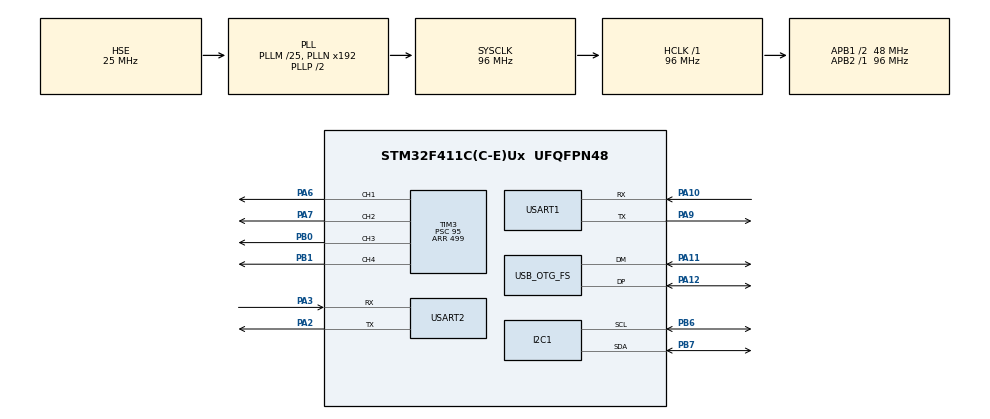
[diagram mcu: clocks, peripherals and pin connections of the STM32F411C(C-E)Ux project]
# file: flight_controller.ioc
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Dma.I2C1_RX.0.Direction=DMA_PERIPH_TO_MEMORY
Dma.I2C1_RX.0.FIFOMode=DMA_FIFOMODE_DISABLE
Dma.I2C1_RX.0.Instance=DMA1_Stream0
Dma.I2C1_RX.0.MemDataAlignment=DMA_MDATAALIGN_BYTE
Dma.I2C1_RX.0.MemInc=DMA_MINC_ENABLE
Dma.I2C1_RX.0.Mode=DMA_NORMAL
Dma.I2C1_RX.0.PeriphDataAlignment=DMA_PDATAALIGN_BYTE
Dma.I2C1_RX.0.PeriphInc=DMA_PINC_DISABLE
Dma.I2C1_RX.0.Priority=DMA_PRIORITY_HIGH
Dma.Request0=I2C1_RX
Dma.Request1=USART2_RX
Dma.Request2=USART1_RX
Dma.USART1_RX.2.Direction=DMA_PERIPH_TO_MEMORY
Dma.USART1_RX.2.FIFOMode=DMA_FIFOMODE_DISABLE
Dma.USART1_RX.2.Instance=DMA2_Stream2
Dma.USART1_RX.2.MemDataAlignment=DMA_MDATAALIGN_BYTE
Dma.USART1_RX.2.MemInc=DMA_MINC_ENABLE
Dma.USART1_RX.2.Mode=DMA_CIRCULAR
Dma.USART1_RX.2.PeriphDataAlignment=DMA_PDATAALIGN_BYTE
Dma.USART1_RX.2.PeriphInc=DMA_PINC_DISABLE
Dma.USART1_RX.2.Priority=DMA_PRIORITY_LOW
Dma.USART2_RX.1.Direction=DMA_PERIPH_TO_MEMORY
Dma.USART2_RX.1.FIFOMode=DMA_FIFOMODE_DISABLE
Dma.USART2_RX.1.Instance=DMA1_Stream5
Dma.USART2_RX.1.MemDataAlignment=DMA_MDATAALIGN_BYTE
Dma.USART2_RX.1.MemInc=DMA_MINC_ENABLE
Dma.USART2_RX.1.Mode=DMA_CIRCULAR
Dma.USART2_RX.1.PeriphDataAlignment=DMA_PDATAALIGN_BYTE
Dma.USART2_RX.1.PeriphInc=DMA_PINC_DISABLE
Dma.USART2_RX.1.Priority=DMA_PRIORITY_MEDIUM
Mcu.Family=STM32F4
Mcu.Name=STM32F411C(C-E)Ux
Mcu.Package=UFQFPN48
NVIC.DMA1_Stream0_IRQn=true\:6\:0\:true\:false\:true\:false\:true\:true
NVIC.DMA1_Stream5_IRQn=true\:0\:0\:false\:false\:true\:false\:true\:true
NVIC.DMA2_Stream2_IRQn=true\:0\:0\:false\:false\:true\:false\:true\:true
NVIC.I2C1_ER_IRQn=true\:6\:0\:true\:false\:true\:true\:true\:true
NVIC.I2C1_EV_IRQn=true\:6\:0\:true\:false\:true\:true\:true\:true
NVIC.OTG_FS_IRQn=true\:4\:0\:true\:false\:true\:false\:true\:true
NVIC.PriorityGroup=NVIC_PRIORITYGROUP_4
NVIC.TIM2_IRQn=true\:2\:0\:true\:false\:true\:true\:true\:true
NVIC.TIM4_IRQn=true\:0\:0\:false\:false\:true\:true\:true\:true
PA10.Mode=Asynchronous
PA10.Signal=USART1_RX
PA11.Mode=Device_Only
PA11.Signal=USB_OTG_FS_DM
PA12.Mode=Device_Only
PA12.Signal=USB_OTG_FS_DP
PA2.Mode=Asynchronous
PA2.Signal=USART2_TX
PA3.Mode=Asynchronous
PA3.Signal=USART2_RX
PA6.Signal=S_TIM3_CH1
PA7.Signal=S_TIM3_CH2
PA9.Mode=Asynchronous
PA9.Signal=USART1_TX
PB0.Signal=S_TIM3_CH3
PB1.Signal=S_TIM3_CH4
PB6.GPIO_Pu=GPIO_PULLUP
PB6.Mode=I2C
PB6.Signal=I2C1_SCL
PB7.GPIO_Pu=GPIO_PULLUP
PB7.Mode=I2C
PB7.Signal=I2C1_SDA
PC14-OSC32_IN.Mode=LSE-External-Oscillator
PC14-OSC32_IN.Signal=RCC_OSC32_IN
PC15-OSC32_OUT.Mode=LSE-External-Oscillator
PC15-OSC32_OUT.Signal=RCC_OSC32_OUT
PH0\ -\ OSC_IN.Mode=HSE-External-Oscillator
PH0\ -\ OSC_IN.Signal=RCC_OSC_IN
PH1\ -\ OSC_OUT.Mode=HSE-External-Oscillator
PH1\ -\ OSC_OUT.Signal=RCC_OSC_OUT
ProjectManager.HeapSize=0x200
ProjectManager.StackSize=0x400
ProjectManager.TargetToolchain=CMake
RCC.48MHZClocksFreq_Value=48000000
RCC.AHBFreq_Value=96000000
RCC.APB1CLKDivider=RCC_HCLK_DIV2
RCC.APB1Freq_Value=48000000
RCC.APB1TimFreq_Value=96000000
RCC.APB2Freq_Value=96000000
RCC.APB2TimFreq_Value=96000000
RCC.CortexFreq_Value=96000000
RCC.HCLKFreq_Value=96000000
RCC.HSE_VALUE=25000000
RCC.HSI_VALUE=16000000
RCC.PLLM=25
RCC.SYSCLKFreq_VALUE=96000000
RCC.SYSCLKSource=RCC_SYSCLKSOURCE_PLLCLK
RCC.VCOOutputFreq_Value=192000000
SH.S_TIM3_CH1.0=TIM3_CH1,PWM Generation1 CH1
SH.S_TIM3_CH2.0=TIM3_CH2,PWM Generation2 CH2
SH.S_TIM3_CH3.0=TIM3_CH3,PWM Generation3 CH3
SH.S_TIM3_CH4.0=TIM3_CH4,PWM Generation4 CH4
TIM2.Period=19
TIM2.Prescaler=9599
TIM2.TIM_MasterOutputTrigger=TIM_TRGO_RESET
TIM3.AutoReloadPreload=TIM_AUTORELOAD_PRELOAD_DISABLE
TIM3.Channel-PWM\ Generation1\ CH1=TIM_CHANNEL_1
TIM3.Channel-PWM\ Generation2\ CH2=TIM_CHANNEL_2
TIM3.Channel-PWM\ Generation3\ CH3=TIM_CHANNEL_3
TIM3.Channel-PWM\ Generation4\ CH4=TIM_CHANNEL_4
TIM3.Period=499
TIM3.Prescaler=95
TIM3.Pulse-PWM\ Generation1\ CH1=125
TIM3.Pulse-PWM\ Generation2\ CH2=125
TIM3.Pulse-PWM\ Generation3\ CH3=125
TIM3.Pulse-PWM\ Generation4\ CH4=125
TIM4.Period=499
TIM4.Prescaler=9599
USART1.VirtualMode=VM_ASYNC
USART2.VirtualMode=VM_ASYNC
USB_DEVICE.CLASS_NAME_FS=CDC
USB_DEVICE.VirtualMode=Cdc
USB_DEVICE.VirtualModeFS=Cdc_FS
USB_OTG_FS.VirtualMode=Device_Only
VP_TIM2_VS_ClockSourceINT.Mode=Internal
VP_TIM4_VS_ClockSourceINT.Mode=Internal
VP_USB_DEVICE_VS_USB_DEVICE_CDC_FS.Mode=CDC_FS
board=custom

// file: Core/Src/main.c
/* USER CODE BEGIN Header */
/**
  ******************************************************************************
  * @file           : main.c
  * @brief          : Main program body
  ******************************************************************************
  * @attention
  *
  * Copyright (c) 2025 STMicroelectronics.
  * All rights reserved.
  *
  * This software is licensed under terms that can be found in the LICENSE file
  * in the root directory of this software component.
  * If no LICENSE file comes with this software, it is provided AS-IS.
  *
  ******************************************************************************
  */
/* USER CODE END Header */
#include "main.h"
#include "usb_device.h"

/* USER CODE BEGIN Includes */
#include "stm32f4xx_hal_def.h"
#include "usbd_cdc_if.h"
#include "mpu6050.h"
//#include <cstddef>
#include <stdbool.h>
#include <stdint.h>
#include <stdio.h>
#include "rc_recv.h"
#include "motor_control.h"
#include <math.h>
#include "control.h"
#include "bmp280.h"
#include "qmc5883.h"
#include "gps.h"
/* USER CODE END Includes */

I2C_HandleTypeDef hi2c1;
DMA_HandleTypeDef hdma_i2c1_rx;

TIM_HandleTypeDef htim2;
TIM_HandleTypeDef htim3;
TIM_HandleTypeDef htim4;

UART_HandleTypeDef huart1;
UART_HandleTypeDef huart2;
DMA_HandleTypeDef hdma_usart1_rx;
DMA_HandleTypeDef hdma_usart2_rx;

/* USER CODE BEGIN PV */
volatile uint8_t pid_timer_flag = 0;
volatile uint8_t periph_poll_flag = 0;
/* USER CODE END PV */

void SystemClock_Config(void);
static void MX_GPIO_Init(void);
static void MX_DMA_Init(void);
static void MX_I2C1_Init(void);
static void MX_USART2_UART_Init(void);
static void MX_TIM3_Init(void);
static void MX_TIM2_Init(void);
static void MX_USART1_UART_Init(void);
static void MX_TIM4_Init(void);

int main(void)
{

  /* USER CODE BEGIN 1 */
  HAL_StatusTypeDef status = HAL_OK;
  /* USER CODE END 1 */

  /* MCU Configuration--------------------------------------------------------*/

  /* Reset of all peripherals, Initializes the Flash interface and the Systick. */
  HAL_Init();

  /* Configure the system clock */
  SystemClock_Config();

  /* Initialize all configured peripherals */
  MX_GPIO_Init();
  MX_DMA_Init();
  MX_USB_DEVICE_Init();
  MX_I2C1_Init();
  MX_USART2_UART_Init();
  MX_TIM3_Init();
  MX_TIM2_Init();
  MX_USART1_UART_Init();
  MX_TIM4_Init();
  /* USER CODE BEGIN 2 */
  HAL_Delay(2000);

  mpu6050_init(&status);
  bmp_init(&status);
  motor_control_init();
  ibus_init();
  // qmc_init(&status);
  // gps_init();

  // qmc_calibrate(&status, 200);  //calibrate for 10 seconds, make sure to rotate the drone in all orientations during this time
  // esc_calibrate();  // MAX speed for 8 seconds, then 3 seconds lowest speed

  HAL_TIM_Base_Start_IT(&htim2); //the PID loop timer on 500Hz refresh rate
  HAL_TIM_Base_Start_IT(&htim4); //slow loop for GPS, qmc5883 and bmp280

  /* USER CODE END 2 */

  /* Infinite loop */
  while (1)
  {

    /* USER CODE BEGIN 3 */

    // gps_test();
    // HAL_Delay(100);
    // qmc_test();
    // HAL_Delay(100);
    // mpu6050_test(&status);
    // HAL_Delay(300);
    // bmp_test(&status);
    // HAL_Delay(300);

    // uint8_t msg[8] = "HELLO\r\n";
    // CDC_Transmit_FS(msg, 8);
    // test_motor_channel(3);
    // HAL_Delay(100);

    if(pid_timer_flag && periph_poll_flag) {
      pid_timer_flag = 0;
      periph_poll_flag = 0;
      control_update(DT, &status, PERIPH_READY);
    }
    else if(pid_timer_flag) {
      pid_timer_flag = 0;
      control_update(DT, &status, PERIPH_NOT_READY);
    }

  }
  /* USER CODE END 3 */
}

void SystemClock_Config(void)
{
  RCC_OscInitTypeDef RCC_OscInitStruct = {0};
  RCC_ClkInitTypeDef RCC_ClkInitStruct = {0};

  /** Configure the main internal regulator output voltage
  */
  __HAL_RCC_PWR_CLK_ENABLE();
  __HAL_PWR_VOLTAGESCALING_CONFIG(PWR_REGULATOR_VOLTAGE_SCALE1);

  /** Initializes the RCC Oscillators according to the specified parameters
  * in the RCC_OscInitTypeDef structure.
  */
  RCC_OscInitStruct.OscillatorType = RCC_OSCILLATORTYPE_HSE;
  RCC_OscInitStruct.HSEState = RCC_HSE_ON;
  RCC_OscInitStruct.PLL.PLLState = RCC_PLL_ON;
  RCC_OscInitStruct.PLL.PLLSource = RCC_PLLSOURCE_HSE;
  RCC_OscInitStruct.PLL.PLLM = 25;
  RCC_OscInitStruct.PLL.PLLN = 192;
  RCC_OscInitStruct.PLL.PLLP = RCC_PLLP_DIV2;
  RCC_OscInitStruct.PLL.PLLQ = 4;
  if (HAL_RCC_OscConfig(&RCC_OscInitStruct) != HAL_OK)
  {
    Error_Handler();
  }

  /** Initializes the CPU, AHB and APB buses clocks
  */
  RCC_ClkInitStruct.ClockType = RCC_CLOCKTYPE_HCLK|RCC_CLOCKTYPE_SYSCLK
                              |RCC_CLOCKTYPE_PCLK1|RCC_CLOCKTYPE_PCLK2;
  RCC_ClkInitStruct.SYSCLKSource = RCC_SYSCLKSOURCE_PLLCLK;
  RCC_ClkInitStruct.AHBCLKDivider = RCC_SYSCLK_DIV1;
  RCC_ClkInitStruct.APB1CLKDivider = RCC_HCLK_DIV2;
  RCC_ClkInitStruct.APB2CLKDivider = RCC_HCLK_DIV1;

  if (HAL_RCC_ClockConfig(&RCC_ClkInitStruct, FLASH_LATENCY_3) != HAL_OK)
  {
    Error_Handler();
  }
}

static void MX_I2C1_Init(void)
{

  hi2c1.Instance = I2C1;
  hi2c1.Init.ClockSpeed = 100000;
  hi2c1.Init.DutyCycle = I2C_DUTYCYCLE_2;
  hi2c1.Init.OwnAddress1 = 0;
  hi2c1.Init.AddressingMode = I2C_ADDRESSINGMODE_7BIT;
  hi2c1.Init.DualAddressMode = I2C_DUALADDRESS_DISABLE;
  hi2c1.Init.OwnAddress2 = 0;
  hi2c1.Init.GeneralCallMode = I2C_GENERALCALL_DISABLE;
  hi2c1.Init.NoStretchMode = I2C_NOSTRETCH_DISABLE;
  if (HAL_I2C_Init(&hi2c1) != HAL_OK)
  {
    Error_Handler();
  }

}

static void MX_TIM2_Init(void)
{

  TIM_ClockConfigTypeDef sClockSourceConfig = {0};
  TIM_MasterConfigTypeDef sMasterConfig = {0};

  htim2.Instance = TIM2;
  htim2.Init.Prescaler = 9599;
  htim2.Init.CounterMode = TIM_COUNTERMODE_UP;
  htim2.Init.Period = 19;
  htim2.Init.ClockDivision = TIM_CLOCKDIVISION_DIV1;
  htim2.Init.AutoReloadPreload = TIM_AUTORELOAD_PRELOAD_DISABLE;
  if (HAL_TIM_Base_Init(&htim2) != HAL_OK)
  {
    Error_Handler();
  }
  sClockSourceConfig.ClockSource = TIM_CLOCKSOURCE_INTERNAL;
  if (HAL_TIM_ConfigClockSource(&htim2, &sClockSourceConfig) != HAL_OK)
  {
    Error_Handler();
  }
  sMasterConfig.MasterOutputTrigger = TIM_TRGO_RESET;
  sMasterConfig.MasterSlaveMode = TIM_MASTERSLAVEMODE_DISABLE;
  if (HAL_TIMEx_MasterConfigSynchronization(&htim2, &sMasterConfig) != HAL_OK)
  {
    Error_Handler();
  }

}

static void MX_TIM3_Init(void)
{

  TIM_MasterConfigTypeDef sMasterConfig = {0};
  TIM_OC_InitTypeDef sConfigOC = {0};

  htim3.Instance = TIM3;
  htim3.Init.Prescaler = 95;
  htim3.Init.CounterMode = TIM_COUNTERMODE_UP;
  htim3.Init.Period = 499;
  htim3.Init.ClockDivision = TIM_CLOCKDIVISION_DIV1;
  htim3.Init.AutoReloadPreload = TIM_AUTORELOAD_PRELOAD_DISABLE;
  if (HAL_TIM_PWM_Init(&htim3) != HAL_OK)
  {
    Error_Handler();
  }
  sMasterConfig.MasterOutputTrigger = TIM_TRGO_RESET;
  sMasterConfig.MasterSlaveMode = TIM_MASTERSLAVEMODE_DISABLE;
  if (HAL_TIMEx_MasterConfigSynchronization(&htim3, &sMasterConfig) != HAL_OK)
  {
    Error_Handler();
  }
  sConfigOC.OCMode = TIM_OCMODE_PWM1;
  sConfigOC.Pulse = 125;
  sConfigOC.OCPolarity = TIM_OCPOLARITY_HIGH;
  sConfigOC.OCFastMode = TIM_OCFAST_DISABLE;
  if (HAL_TIM_PWM_ConfigChannel(&htim3, &sConfigOC, TIM_CHANNEL_1) != HAL_OK)
  {
    Error_Handler();
  }
  if (HAL_TIM_PWM_ConfigChannel(&htim3, &sConfigOC, TIM_CHANNEL_2) != HAL_OK)
  {
    Error_Handler();
  }
  if (HAL_TIM_PWM_ConfigChannel(&htim3, &sConfigOC, TIM_CHANNEL_3) != HAL_OK)
  {
    Error_Handler();
  }
  if (HAL_TIM_PWM_ConfigChannel(&htim3, &sConfigOC, TIM_CHANNEL_4) != HAL_OK)
  {
    Error_Handler();
  }
  HAL_TIM_MspPostInit(&htim3);

}

static void MX_TIM4_Init(void)
{

  TIM_ClockConfigTypeDef sClockSourceConfig = {0};
  TIM_MasterConfigTypeDef sMasterConfig = {0};

  htim4.Instance = TIM4;
  htim4.Init.Prescaler = 9599;
  htim4.Init.CounterMode = TIM_COUNTERMODE_UP;
  htim4.Init.Period = 499;
  htim4.Init.ClockDivision = TIM_CLOCKDIVISION_DIV1;
  htim4.Init.AutoReloadPreload = TIM_AUTORELOAD_PRELOAD_DISABLE;
  if (HAL_TIM_Base_Init(&htim4) != HAL_OK)
  {
    Error_Handler();
  }
  sClockSourceConfig.ClockSource = TIM_CLOCKSOURCE_INTERNAL;
  if (HAL_TIM_ConfigClockSource(&htim4, &sClockSourceConfig) != HAL_OK)
  {
    Error_Handler();
  }
  sMasterConfig.MasterOutputTrigger = TIM_TRGO_RESET;
  sMasterConfig.MasterSlaveMode = TIM_MASTERSLAVEMODE_DISABLE;
  if (HAL_TIMEx_MasterConfigSynchronization(&htim4, &sMasterConfig) != HAL_OK)
  {
    Error_Handler();
  }

}

static void MX_USART1_UART_Init(void)
{

  huart1.Instance = USART1;
  huart1.Init.BaudRate = 115200;
  huart1.Init.WordLength = UART_WORDLENGTH_8B;
  huart1.Init.StopBits = UART_STOPBITS_1;
  huart1.Init.Parity = UART_PARITY_NONE;
  huart1.Init.Mode = UART_MODE_TX_RX;
  huart1.Init.HwFlowCtl = UART_HWCONTROL_NONE;
  huart1.Init.OverSampling = UART_OVERSAMPLING_16;
  if (HAL_UART_Init(&huart1) != HAL_OK)
  {
    Error_Handler();
  }

}

static void MX_USART2_UART_Init(void)
{

  huart2.Instance = USART2;
  huart2.Init.BaudRate = 115200;
  huart2.Init.WordLength = UART_WORDLENGTH_8B;
  huart2.Init.StopBits = UART_STOPBITS_1;
  huart2.Init.Parity = UART_PARITY_NONE;
  huart2.Init.Mode = UART_MODE_TX_RX;
  huart2.Init.HwFlowCtl = UART_HWCONTROL_NONE;
  huart2.Init.OverSampling = UART_OVERSAMPLING_16;
  if (HAL_UART_Init(&huart2) != HAL_OK)
  {
    Error_Handler();
  }

}

static void MX_DMA_Init(void)
{

  /* DMA controller clock enable */
  __HAL_RCC_DMA1_CLK_ENABLE();
  __HAL_RCC_DMA2_CLK_ENABLE();

  /* DMA interrupt init */
  /* DMA1_Stream0_IRQn interrupt configuration */
  HAL_NVIC_SetPriority(DMA1_Stream0_IRQn, 6, 0);
  HAL_NVIC_EnableIRQ(DMA1_Stream0_IRQn);
  /* DMA1_Stream5_IRQn interrupt configuration */
  HAL_NVIC_SetPriority(DMA1_Stream5_IRQn, 0, 0);
  HAL_NVIC_EnableIRQ(DMA1_Stream5_IRQn);
  /* DMA2_Stream2_IRQn interrupt configuration */
  HAL_NVIC_SetPriority(DMA2_Stream2_IRQn, 0, 0);
  HAL_NVIC_EnableIRQ(DMA2_Stream2_IRQn);

}

static void MX_GPIO_Init(void)
{

  /* GPIO Ports Clock Enable */
  __HAL_RCC_GPIOC_CLK_ENABLE();
  __HAL_RCC_GPIOH_CLK_ENABLE();
  __HAL_RCC_GPIOA_CLK_ENABLE();
  __HAL_RCC_GPIOB_CLK_ENABLE();

}

/* USER CODE BEGIN 4 */
void HAL_TIM_PeriodElapsedCallback(TIM_HandleTypeDef *htim)
{
    if (htim->Instance == TIM2) {
      pid_timer_flag = 1; // 500 Hz fixed dt (0.002 seconds)
    }
    else if (htim->Instance == TIM4) {
      periph_poll_flag = 1;
    }
}
/* USER CODE END 4 */

void Error_Handler(void)
{
  __disable_irq();
  while (1)
  {
  }
}
